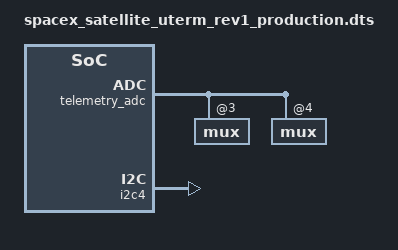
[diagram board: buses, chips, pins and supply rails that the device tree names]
/*
 * Copyright (C) 2018 STMicroelectronics (R&D) Limited.
 * Author: Nicolas Toromanoff <nicolas.toromanoff@st.com>
 *
 * This program is free software; you can redistribute it and/or modify
 * it under the terms of the GNU General Public License version 2 as
 * published by the Free Software Foundation.
 */

/dts-v1/;
#include "spacex_satellite_uterm_production.dtsi"

/ {
	aliases {
		i2c4 = &i2c4;
	};

	gpios {
		/*
		 * Reset.
		 */
		self_reset = <&pio21 5 1>;   /* 0=reset*/

		/*
		 * STSAFE reset, active low.
		 */
		stsafe_reset = <&pio21 6 0>;

		/*
		 * Watchdog disable.  1 = disabled
		 */
		watchdog_disable = <&pio31 0 0>;

		/*
		 * Watchdog toggle.  There is a pull-down resistor so a default
		 * value of 0 doesn't count as the first toggle.
		 */
		watchdog_toggle = <&pio31 1 0>;
	};

	soc {
		/*
		 * ADC temp sensors, voltage, and current monitors.
		 *
		 * Proto1 has 2 muxes on channels 3 and 4.
		 */
		telemetry_adc: sti_adc@8900000 {
			vref-external = <1800>; /* 1.8v external reference */
			use-external = <0 0 0 0 0 0 0 1>;

			mux-gpio = <&pio12 4 0>,
				   <&pio12 6 0>,
				   <&pio12 7 0>;

			mux@3 {
				input-channel = <3>;
				vchan-count = <8>;
			};
			mux@4 {
				input-channel = <4>;
				vchan-count = <8>;
			};
		};

		/*
		 * I2C4 (SCL:PIO23[3],SDA:PIO23[4]) for talking to STSAFE IC.
		 */
		i2c4: i2c4@8910000 {
			status = "okay";
		};
	};
};
